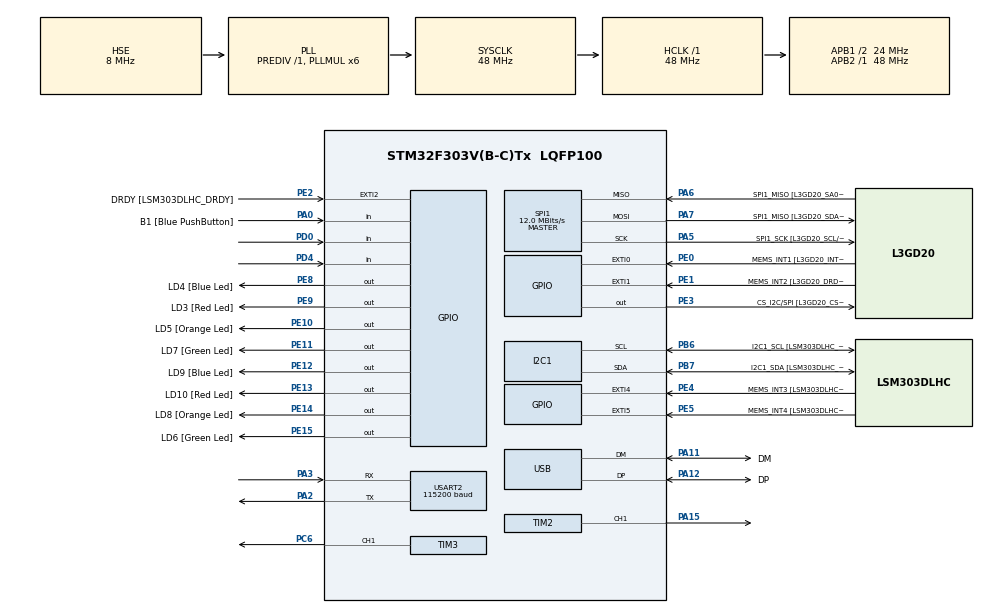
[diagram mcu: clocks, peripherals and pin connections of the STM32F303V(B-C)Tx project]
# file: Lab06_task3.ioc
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I2C1.Timing=0x2000090E
I2C1.Timing-I2C=0x2000090E
Mcu.Family=STM32F3
Mcu.Name=STM32F303V(B-C)Tx
Mcu.Package=LQFP100
NVIC.PriorityGroup=NVIC_PRIORITYGROUP_0
PA0.GPIO_Label=B1 [Blue PushButton]
PA0.Signal=GPIO_Input
PA11.GPIO_Label=DM
PA11.Mode=Device
PA11.Signal=USB_DM
PA12.GPIO_Label=DP
PA12.Mode=Device
PA12.Signal=USB_DP
PA13.GPIO_Label=SWDIO
PA13.Mode=Serial_Wire
PA13.Signal=SYS_JTMS-SWDIO
PA14.GPIO_Label=SWCLK
PA14.Mode=Serial_Wire
PA14.Signal=SYS_JTCK-SWCLK
PA15.Signal=S_TIM2_CH1_ETR
PA2.Mode=Asynchronous
PA2.Signal=USART2_TX
PA3.Mode=Asynchronous
PA3.Signal=USART2_RX
PA5.GPIO_Label=SPI1_SCK [L3GD20_SCL/SPC]
PA5.Mode=Full_Duplex_Master
PA5.Signal=SPI1_SCK
PA6.GPIO_Label=SPI1_MISO [L3GD20_SA0/SDO]
PA6.Mode=Full_Duplex_Master
PA6.Signal=SPI1_MISO
PA7.GPIO_Label=SPI1_MISO [L3GD20_SDA/SDI/SDO]
PA7.Mode=Full_Duplex_Master
PA7.Signal=SPI1_MOSI
PB3.GPIO_Label=SWO
PB3.Signal=SYS_JTDO-TRACESWO
PB6.GPIO_Label=I2C1_SCL [LSM303DLHC_SCL]
PB6.GPIO_Pu=GPIO_PULLUP
PB6.Mode=I2C
PB6.Signal=I2C1_SCL
PB7.GPIO_Label=I2C1_SDA [LSM303DLHC_SDA]
PB7.GPIO_Pu=GPIO_PULLUP
PB7.Mode=I2C
PB7.Signal=I2C1_SDA
PC14-OSC32_IN.GPIO_Label=OSC32_IN
PC14-OSC32_IN.Signal=RCC_OSC32_IN
PC15-OSC32_OUT.GPIO_Label=OSC32_OUT
PC15-OSC32_OUT.Signal=RCC_OSC32_OUT
PC6.Signal=S_TIM3_CH1
PD0.Signal=GPIO_Input
PD4.Signal=GPIO_Input
PE0.GPIO_Label=MEMS_INT1 [L3GD20_INT1]
PE0.GPIO_ModeDefaultEXTI=GPIO_MODE_EVT_RISING
PE0.Signal=GPXTI0
PE1.GPIO_Label=MEMS_INT2 [L3GD20_DRDY/INT2]
PE1.GPIO_ModeDefaultEXTI=GPIO_MODE_EVT_RISING
PE1.Signal=GPXTI1
PE10.GPIO_Label=LD5 [Orange Led]
PE10.Signal=GPIO_Output
PE11.GPIO_Label=LD7 [Green Led]
PE11.Signal=GPIO_Output
PE12.GPIO_Label=LD9 [Blue Led]
PE12.Signal=GPIO_Output
PE13.GPIO_Label=LD10 [Red Led]
PE13.Signal=GPIO_Output
PE14.GPIO_Label=LD8 [Orange Led]
PE14.Signal=GPIO_Output
PE15.GPIO_Label=LD6 [Green Led]
PE15.Signal=GPIO_Output
PE2.GPIO_Label=DRDY [LSM303DLHC_DRDY]
PE2.GPIO_ModeDefaultEXTI=GPIO_MODE_EVT_RISING
PE2.Signal=GPXTI2
PE3.GPIO_Label=CS_I2C/SPI [L3GD20_CS_I2C/SPI]
PE3.Signal=GPIO_Output
PE4.GPIO_Label=MEMS_INT3 [LSM303DLHC_INT1]
PE4.GPIO_ModeDefaultEXTI=GPIO_MODE_EVT_RISING
PE4.Signal=GPXTI4
PE5.GPIO_Label=MEMS_INT4 [LSM303DLHC_INT2]
PE5.GPIO_ModeDefaultEXTI=GPIO_MODE_EVT_RISING
PE5.Signal=GPXTI5
PE8.GPIO_Label=LD4 [Blue Led]
PE8.Signal=GPIO_Output
PE9.GPIO_Label=LD3 [Red Led]
PE9.Signal=GPIO_Output
PF0-OSC_IN.GPIO_Label=OSC_IN
PF0-OSC_IN.Mode=HSE-External-Clock-Source
PF0-OSC_IN.Signal=RCC_OSC_IN
PF1-OSC_OUT.GPIO_Label=OSC_OUT
PF1-OSC_OUT.Signal=RCC_OSC_OUT
ProjectManager.HeapSize=0x200
ProjectManager.StackSize=0x400
ProjectManager.TargetToolchain=CMake
RCC.AHBFreq_Value=48000000
RCC.APB1CLKDivider=RCC_HCLK_DIV2
RCC.APB1Freq_Value=24000000
RCC.APB1TimFreq_Value=48000000
RCC.APB2Freq_Value=48000000
RCC.APB2TimFreq_Value=48000000
RCC.CortexFreq_Value=48000000
RCC.HCLKFreq_Value=48000000
RCC.HSE_VALUE=8000000
RCC.HSI_VALUE=8000000
RCC.LSE_VALUE=32768
RCC.PLLMUL=RCC_PLL_MUL6
RCC.SYSCLKFreq_VALUE=48000000
RCC.SYSCLKSourceVirtual=RCC_SYSCLKSOURCE_PLLCLK
RCC.USBFreq_Value=48000000
SH.S_TIM2_CH1_ETR.0=TIM2_CH1,PWM Generation1 CH1
SH.S_TIM3_CH1.0=TIM3_CH1,PWM Generation1 CH1
SPI1.BaudRatePrescaler=SPI_BAUDRATEPRESCALER_4
SPI1.BaudRatePrescaler-Full_Duplex_Master=SPI_BAUDRATEPRESCALER_2
SPI1.CalculateBaudRate=12.0 MBits/s
SPI1.CalculateBaudRate-Full_Duplex_Master=24.0 MBits/s
SPI1.Direction=SPI_DIRECTION_2LINES
SPI1.Mode=SPI_MODE_MASTER
SPI1.Mode-Full_Duplex_Master=SPI_MODE_MASTER
SPI1.VirtualType=VM_MASTER
TIM2.Channel-PWM\ Generation1\ CH1=TIM_CHANNEL_1
TIM2.Prescaler=47
TIM3.Channel-PWM\ Generation1\ CH1=TIM_CHANNEL_1
TIM3.Period=999
TIM3.Prescaler=47
USART2.BaudRate=115200
USART2.VirtualMode-Asynchronous=VM_ASYNC
VP_TIM2_VS_ClockSourceINT.Mode=Internal
board=STM32F3DISCOVERY

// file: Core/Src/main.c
/* USER CODE BEGIN Header */
/**
  ******************************************************************************
  * @file           : main.c
  * @brief          : Lab 6 Task 3 - Motor speed using encoder and polling
  ******************************************************************************
  * @attention
  *
  * Copyright (c) 2026 STMicroelectronics.
  * All rights reserved.
  *
  * This software is licensed under terms that can be found in the LICENSE file
  * in the root directory of this software component.
  * If no LICENSE file comes with this software, it is provided AS-IS.
  *
  ******************************************************************************
  */
/* USER CODE END Header */
#include "main.h"

/* USER CODE BEGIN Includes */
#include <stdio.h>
#include <string.h>
#include <stdarg.h>
/* USER CODE END Includes */

/* USER CODE BEGIN PD */
#define SAMPLES     10
#define PPR         330
#define TIMEOUT_MS  200
/* USER CODE END PD */

I2C_HandleTypeDef hi2c1;

SPI_HandleTypeDef hspi1;

TIM_HandleTypeDef htim2;
TIM_HandleTypeDef htim3;

UART_HandleTypeDef huart2;

PCD_HandleTypeDef hpcd_USB_FS;

/* USER CODE BEGIN PV */
uint32_t periods[SAMPLES];
/* USER CODE END PV */

void SystemClock_Config(void);
static void MX_GPIO_Init(void);
static void MX_I2C1_Init(void);
static void MX_SPI1_Init(void);
static void MX_TIM2_Init(void);
static void MX_TIM3_Init(void);
static void MX_USART2_UART_Init(void);
static void MX_USB_PCD_Init(void);

/* USER CODE BEGIN 0 */

/* ---------- UART print ---------- */
void myPrintf(const char *fmt, ...){
  char buffer[100];
  va_list args;
  va_start(args, fmt);
  vsnprintf(buffer, sizeof(buffer), fmt, args);
  va_end(args);
  uint8_t length = strlen(buffer);
  HAL_UART_Transmit(&huart2, (uint8_t *)buffer, length, HAL_MAX_DELAY);
}

/*Encoder (polling on PD0) */
int Encoder_WaitFallingEdge(void) {
  uint32_t start = HAL_GetTick();
  while (HAL_GPIO_ReadPin(GPIOD, GPIO_PIN_0) == GPIO_PIN_RESET)  // wait for HIGH
    if (HAL_GetTick() - start > TIMEOUT_MS) return 0;
  while (HAL_GPIO_ReadPin(GPIOD, GPIO_PIN_0) == GPIO_PIN_SET)    // wait for drop to LOW
    if (HAL_GetTick() - start > TIMEOUT_MS) return 0;
  return 1;
}

uint32_t Encoder_GetPeriod(void) {
  if (!Encoder_WaitFallingEdge()) return 0;   // 1st falling edge
  __HAL_TIM_SET_COUNTER(&htim3, 0);           // start timing
  if (!Encoder_WaitFallingEdge()) return 0;   // 2nd falling edge
  return __HAL_TIM_GET_COUNTER(&htim3);       // period in us
}

uint32_t Encoder_GetAveragePeriod(void) {
  uint32_t sum = 0;
  for (int i = 0; i < SAMPLES; i++) {
    periods[i] = Encoder_GetPeriod();
    if (periods[i] == 0) return 0;            // no pulses
    sum += periods[i];
  }
  return sum / SAMPLES;
}

/* ---------- Calculations ---------- */
float Calc_Frequency(uint32_t avgPeriod_us) {
  return 1000000.0f / avgPeriod_us;
}

float Calc_RPM(float frequency) {
  return (60.0f * frequency) / PPR;
}

/* USER CODE END 0 */

int main(void)
{

  /* MCU Configuration--------------------------------------------------------*/

  /* Reset of all peripherals, Initializes the Flash interface and the Systick. */
  HAL_Init();

  /* Configure the system clock */
  SystemClock_Config();

  /* Initialize all configured peripherals */
  MX_GPIO_Init();
  MX_I2C1_Init();
  MX_SPI1_Init();
  MX_TIM2_Init();
  MX_TIM3_Init();
  MX_USART2_UART_Init();
  MX_USB_PCD_Init();
  /* USER CODE BEGIN 2 */
  HAL_TIM_Base_Start(&htim3);
  myPrintf("Task 3 started\r\n");
  /* USER CODE END 2 */

  /* Infinite loop */
  while (1)
  {

    /* USER CODE BEGIN 3 */
    uint32_t avgPeriod = Encoder_GetAveragePeriod();

    if (avgPeriod != 0) {
      float frequency = Calc_Frequency(avgPeriod);
      float rpm = Calc_RPM(frequency);
      myPrintf("Period: %lu us | Freq: %.2f Hz | RPM: %.2f\r\n", avgPeriod, frequency, rpm);
    } else {
      myPrintf("No pulses - check encoder wiring\r\n");
    }
    HAL_Delay(500);
  }
  /* USER CODE END 3 */
}

void SystemClock_Config(void)
{
  RCC_OscInitTypeDef RCC_OscInitStruct = {0};
  RCC_ClkInitTypeDef RCC_ClkInitStruct = {0};
  RCC_PeriphCLKInitTypeDef PeriphClkInit = {0};

  /** Initializes the RCC Oscillators according to the specified parameters
  * in the RCC_OscInitTypeDef structure.
  */
  RCC_OscInitStruct.OscillatorType = RCC_OSCILLATORTYPE_HSI|RCC_OSCILLATORTYPE_HSE;
  RCC_OscInitStruct.HSEState = RCC_HSE_BYPASS;
  RCC_OscInitStruct.HSEPredivValue = RCC_HSE_PREDIV_DIV1;
  RCC_OscInitStruct.HSIState = RCC_HSI_ON;
  RCC_OscInitStruct.HSICalibrationValue = RCC_HSICALIBRATION_DEFAULT;
  RCC_OscInitStruct.PLL.PLLState = RCC_PLL_ON;
  RCC_OscInitStruct.PLL.PLLSource = RCC_PLLSOURCE_HSE;
  RCC_OscInitStruct.PLL.PLLMUL = RCC_PLL_MUL6;
  if (HAL_RCC_OscConfig(&RCC_OscInitStruct) != HAL_OK)
  {
    Error_Handler();
  }

  /** Initializes the CPU, AHB and APB buses clocks
  */
  RCC_ClkInitStruct.ClockType = RCC_CLOCKTYPE_HCLK|RCC_CLOCKTYPE_SYSCLK
                              |RCC_CLOCKTYPE_PCLK1|RCC_CLOCKTYPE_PCLK2;
  RCC_ClkInitStruct.SYSCLKSource = RCC_SYSCLKSOURCE_PLLCLK;
  RCC_ClkInitStruct.AHBCLKDivider = RCC_SYSCLK_DIV1;
  RCC_ClkInitStruct.APB1CLKDivider = RCC_HCLK_DIV2;
  RCC_ClkInitStruct.APB2CLKDivider = RCC_HCLK_DIV1;

  if (HAL_RCC_ClockConfig(&RCC_ClkInitStruct, FLASH_LATENCY_1) != HAL_OK)
  {
    Error_Handler();
  }
  PeriphClkInit.PeriphClockSelection = RCC_PERIPHCLK_USB|RCC_PERIPHCLK_USART2
                              |RCC_PERIPHCLK_I2C1;
  PeriphClkInit.Usart2ClockSelection = RCC_USART2CLKSOURCE_PCLK1;
  PeriphClkInit.I2c1ClockSelection = RCC_I2C1CLKSOURCE_HSI;
  PeriphClkInit.USBClockSelection = RCC_USBCLKSOURCE_PLL;
  if (HAL_RCCEx_PeriphCLKConfig(&PeriphClkInit) != HAL_OK)
  {
    Error_Handler();
  }
}

static void MX_I2C1_Init(void)
{

  hi2c1.Instance = I2C1;
  hi2c1.Init.Timing = 0x2000090E;
  hi2c1.Init.OwnAddress1 = 0;
  hi2c1.Init.AddressingMode = I2C_ADDRESSINGMODE_7BIT;
  hi2c1.Init.DualAddressMode = I2C_DUALADDRESS_DISABLE;
  hi2c1.Init.OwnAddress2 = 0;
  hi2c1.Init.OwnAddress2Masks = I2C_OA2_NOMASK;
  hi2c1.Init.GeneralCallMode = I2C_GENERALCALL_DISABLE;
  hi2c1.Init.NoStretchMode = I2C_NOSTRETCH_DISABLE;
  if (HAL_I2C_Init(&hi2c1) != HAL_OK)
  {
    Error_Handler();
  }

  /** Configure Analogue filter
  */
  if (HAL_I2CEx_ConfigAnalogFilter(&hi2c1, I2C_ANALOGFILTER_ENABLE) != HAL_OK)
  {
    Error_Handler();
  }

  /** Configure Digital filter
  */
  if (HAL_I2CEx_ConfigDigitalFilter(&hi2c1, 0) != HAL_OK)
  {
    Error_Handler();
  }

}

static void MX_SPI1_Init(void)
{

  /* SPI1 parameter configuration*/
  hspi1.Instance = SPI1;
  hspi1.Init.Mode = SPI_MODE_MASTER;
  hspi1.Init.Direction = SPI_DIRECTION_2LINES;
  hspi1.Init.DataSize = SPI_DATASIZE_4BIT;
  hspi1.Init.CLKPolarity = SPI_POLARITY_LOW;
  hspi1.Init.CLKPhase = SPI_PHASE_1EDGE;
  hspi1.Init.NSS = SPI_NSS_SOFT;
  hspi1.Init.BaudRatePrescaler = SPI_BAUDRATEPRESCALER_4;
  hspi1.Init.FirstBit = SPI_FIRSTBIT_MSB;
  hspi1.Init.TIMode = SPI_TIMODE_DISABLE;
  hspi1.Init.CRCCalculation = SPI_CRCCALCULATION_DISABLE;
  hspi1.Init.CRCPolynomial = 7;
  hspi1.Init.CRCLength = SPI_CRC_LENGTH_DATASIZE;
  hspi1.Init.NSSPMode = SPI_NSS_PULSE_ENABLE;
  if (HAL_SPI_Init(&hspi1) != HAL_OK)
  {
    Error_Handler();
  }

}

static void MX_TIM2_Init(void)
{

  TIM_ClockConfigTypeDef sClockSourceConfig = {0};
  TIM_MasterConfigTypeDef sMasterConfig = {0};
  TIM_OC_InitTypeDef sConfigOC = {0};

  htim2.Instance = TIM2;
  htim2.Init.Prescaler = 47;
  htim2.Init.CounterMode = TIM_COUNTERMODE_UP;
  htim2.Init.Period = 4294967295;
  htim2.Init.ClockDivision = TIM_CLOCKDIVISION_DIV1;
  htim2.Init.AutoReloadPreload = TIM_AUTORELOAD_PRELOAD_DISABLE;
  if (HAL_TIM_Base_Init(&htim2) != HAL_OK)
  {
    Error_Handler();
  }
  sClockSourceConfig.ClockSource = TIM_CLOCKSOURCE_INTERNAL;
  if (HAL_TIM_ConfigClockSource(&htim2, &sClockSourceConfig) != HAL_OK)
  {
    Error_Handler();
  }
  if (HAL_TIM_PWM_Init(&htim2) != HAL_OK)
  {
    Error_Handler();
  }
  sMasterConfig.MasterOutputTrigger = TIM_TRGO_RESET;
  sMasterConfig.MasterSlaveMode = TIM_MASTERSLAVEMODE_DISABLE;
  if (HAL_TIMEx_MasterConfigSynchronization(&htim2, &sMasterConfig) != HAL_OK)
  {
    Error_Handler();
  }
  sConfigOC.OCMode = TIM_OCMODE_PWM1;
  sConfigOC.Pulse = 0;
  sConfigOC.OCPolarity = TIM_OCPOLARITY_HIGH;
  sConfigOC.OCFastMode = TIM_OCFAST_DISABLE;
  if (HAL_TIM_PWM_ConfigChannel(&htim2, &sConfigOC, TIM_CHANNEL_1) != HAL_OK)
  {
    Error_Handler();
  }
  HAL_TIM_MspPostInit(&htim2);

}

static void MX_TIM3_Init(void)
{

  TIM_MasterConfigTypeDef sMasterConfig = {0};
  TIM_OC_InitTypeDef sConfigOC = {0};

  htim3.Instance = TIM3;
  htim3.Init.Prescaler = 47;
  htim3.Init.CounterMode = TIM_COUNTERMODE_UP;
  htim3.Init.Period = 999;
  htim3.Init.ClockDivision = TIM_CLOCKDIVISION_DIV1;
  htim3.Init.AutoReloadPreload = TIM_AUTORELOAD_PRELOAD_DISABLE;
  if (HAL_TIM_PWM_Init(&htim3) != HAL_OK)
  {
    Error_Handler();
  }
  sMasterConfig.MasterOutputTrigger = TIM_TRGO_RESET;
  sMasterConfig.MasterSlaveMode = TIM_MASTERSLAVEMODE_DISABLE;
  if (HAL_TIMEx_MasterConfigSynchronization(&htim3, &sMasterConfig) != HAL_OK)
  {
    Error_Handler();
  }
  sConfigOC.OCMode = TIM_OCMODE_PWM1;
  sConfigOC.Pulse = 0;
  sConfigOC.OCPolarity = TIM_OCPOLARITY_HIGH;
  sConfigOC.OCFastMode = TIM_OCFAST_DISABLE;
  if (HAL_TIM_PWM_ConfigChannel(&htim3, &sConfigOC, TIM_CHANNEL_1) != HAL_OK)
  {
    Error_Handler();
  }
  HAL_TIM_MspPostInit(&htim3);

}

static void MX_USART2_UART_Init(void)
{

  huart2.Instance = USART2;
  huart2.Init.BaudRate = 115200;
  huart2.Init.WordLength = UART_WORDLENGTH_8B;
  huart2.Init.StopBits = UART_STOPBITS_1;
  huart2.Init.Parity = UART_PARITY_NONE;
  huart2.Init.Mode = UART_MODE_TX_RX;
  huart2.Init.HwFlowCtl = UART_HWCONTROL_NONE;
  huart2.Init.OverSampling = UART_OVERSAMPLING_16;
  huart2.Init.OneBitSampling = UART_ONE_BIT_SAMPLE_DISABLE;
  huart2.AdvancedInit.AdvFeatureInit = UART_ADVFEATURE_NO_INIT;
  if (HAL_UART_Init(&huart2) != HAL_OK)
  {
    Error_Handler();
  }

}

static void MX_USB_PCD_Init(void)
{

  hpcd_USB_FS.Instance = USB;
  hpcd_USB_FS.Init.dev_endpoints = 8;
  hpcd_USB_FS.Init.speed = PCD_SPEED_FULL;
  hpcd_USB_FS.Init.phy_itface = PCD_PHY_EMBEDDED;
  hpcd_USB_FS.Init.low_power_enable = DISABLE;
  hpcd_USB_FS.Init.battery_charging_enable = DISABLE;
  if (HAL_PCD_Init(&hpcd_USB_FS) != HAL_OK)
  {
    Error_Handler();
  }

}

static void MX_GPIO_Init(void)
{
  GPIO_InitTypeDef GPIO_InitStruct = {0};

  /* GPIO Ports Clock Enable */
  __HAL_RCC_GPIOE_CLK_ENABLE();
  __HAL_RCC_GPIOC_CLK_ENABLE();
  __HAL_RCC_GPIOF_CLK_ENABLE();
  __HAL_RCC_GPIOA_CLK_ENABLE();
  __HAL_RCC_GPIOD_CLK_ENABLE();
  __HAL_RCC_GPIOB_CLK_ENABLE();

  /*Configure GPIO pin Output Level */
  HAL_GPIO_WritePin(GPIOE, CS_I2C_SPI_Pin|LD4_Pin|LD3_Pin|LD5_Pin
                          |LD7_Pin|LD9_Pin|LD10_Pin|LD8_Pin
                          |LD6_Pin, GPIO_PIN_RESET);

  /*Configure GPIO pins : DRDY_Pin MEMS_INT3_Pin MEMS_INT4_Pin MEMS_INT1_Pin
                           MEMS_INT2_Pin */
  GPIO_InitStruct.Pin = DRDY_Pin|MEMS_INT3_Pin|MEMS_INT4_Pin|MEMS_INT1_Pin
                          |MEMS_INT2_Pin;
  GPIO_InitStruct.Mode = GPIO_MODE_EVT_RISING;
  GPIO_InitStruct.Pull = GPIO_NOPULL;
  HAL_GPIO_Init(GPIOE, &GPIO_InitStruct);

  /*Configure GPIO pins : CS_I2C_SPI_Pin LD4_Pin LD3_Pin LD5_Pin
                           LD7_Pin LD9_Pin LD10_Pin LD8_Pin
                           LD6_Pin */
  GPIO_InitStruct.Pin = CS_I2C_SPI_Pin|LD4_Pin|LD3_Pin|LD5_Pin
                          |LD7_Pin|LD9_Pin|LD10_Pin|LD8_Pin
                          |LD6_Pin;
  GPIO_InitStruct.Mode = GPIO_MODE_OUTPUT_PP;
  GPIO_InitStruct.Pull = GPIO_NOPULL;
  GPIO_InitStruct.Speed = GPIO_SPEED_FREQ_LOW;
  HAL_GPIO_Init(GPIOE, &GPIO_InitStruct);

  /*Configure GPIO pin : B1_Pin */
  GPIO_InitStruct.Pin = B1_Pin;
  GPIO_InitStruct.Mode = GPIO_MODE_INPUT;
  GPIO_InitStruct.Pull = GPIO_NOPULL;
  HAL_GPIO_Init(B1_GPIO_Port, &GPIO_InitStruct);

  /*Configure GPIO pins : PD0 PD4 */
  GPIO_InitStruct.Pin = GPIO_PIN_0|GPIO_PIN_4;
  GPIO_InitStruct.Mode = GPIO_MODE_INPUT;
  GPIO_InitStruct.Pull = GPIO_NOPULL;
  HAL_GPIO_Init(GPIOD, &GPIO_InitStruct);

}

void Error_Handler(void)
{
  __disable_irq();
  while (1)
  {
  }
}
